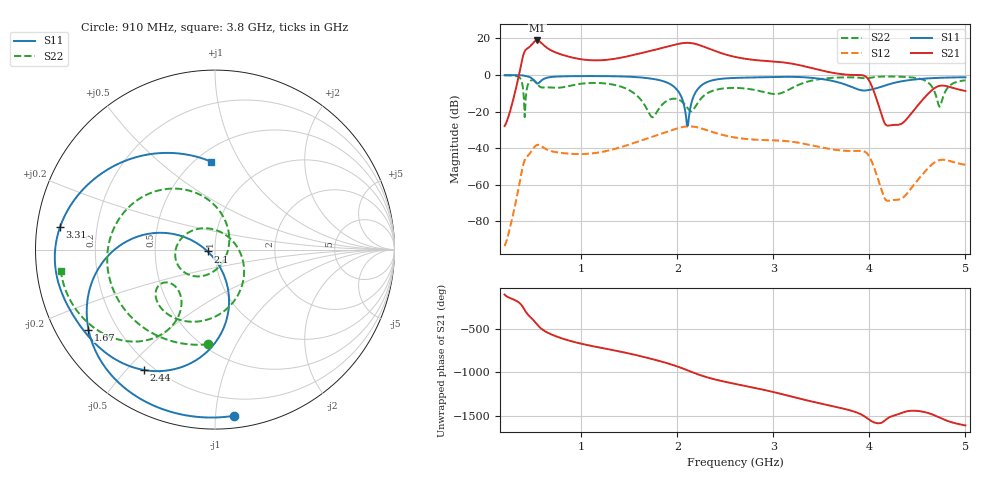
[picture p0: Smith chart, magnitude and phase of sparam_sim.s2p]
! Created Wed Feb 11 23:24:43 2026
# hz S db R 50
! 2 Port Network Data from SP1.SP block
! freq  dbS11  angS11  dbS21  angS21  dbS12  angS12  dbS22  angS22
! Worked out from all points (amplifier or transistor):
!   481 points, 200 MHz to 5 GHz, reference 50 ohm
!   highest |S21| = 18.9 dB at 540 MHz (marker M1)
!   |S21| within 3 dB of that: 1.922 GHz to 2.254 GHz (331.6 MHz wide, 15.9 % of centre)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
!   unconditionally stable (mu >= 1): start of sweep to end of sweep
!   at 1 GHz: K = 2.54, MAG = 19.0 dB, |S12| = -43.2 dB
!   at 2.6 GHz: K = 1.98, MAG = 16.4 dB, |S12| = -34.2 dB
!   at 5 GHz: K = 44.92, MAG = 0.7 dB, |S12| = -49.1 dB
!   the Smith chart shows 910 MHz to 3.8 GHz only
!   S11 on the Smith chart (normalised r, x): 910 MHz: 0.08, -1.12; 1.67 GHz: 0.10, -0.29; 2.1 GHz: 0.92, -0.02; 2.44 GHz: 0.16, -0.56; 3.31 GHz: 0.07, +0.07; 3.8 GHz: 0.59, +0.76
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2e8  -0.05 -23.9  -27.88 -103.2  -93.60 167.8  -0.14 144.3
3.7e8  -0.14 -46.6  5.23 144.3  -55.15 56.1  -2.45 69.3
4.2e8  -0.54 -55.1  13.82 58.9  -45.46 -29.0  -12.52 -169.4
4.9e8  -2.06 -67.6  17.08 -26.5  -40.87 -114.0  -2.75 108.2
5.4e8  -4.62 -59.1  18.92 -88.9  -38.19 -176.2  -4.77 76.1
6.1e8  -2.06 -50.5  16.22 -158.5  -39.84 114.6  -6.80 63.1
7.3e8  -0.86 -65.8  12.40 138.8  -42.12 52.5  -6.95 2.1
9.1e8  -0.61 -83.4  9.51 75.0  -43.12 -10.4  -5.53 -94.2
1e9  -0.57 -91.2  8.62 50.5  -43.21 -34.5  -4.73 -125.6
1.39e9  -0.71 -122.8  9.28 -36.6  -39.78 -119.6  -5.97 144.8
1.67e9  -1.58 -147.7  12.60 -106.9  -34.96 171.6  -17.41 57.2
1.8e9  -2.64 -161.8  14.27 -144.3  -32.68 134.9  -19.00 -87.5
1.97e9  -6.62 172.6  16.57 160.0  -29.66 80.2  -12.93 -166.2
2.1e9  -27.54 -165.5  17.62 107.2  -28.11 28.1  -17.72 113.7
2.25e9  -5.66 -90.1  15.99 44.7  -29.20 -33.6  -12.59 -48.1
2.44e9  -2.17 -120.6  12.25 -13.2  -32.33 -90.4  -7.63 -105.0
2.6e9  -1.56 -135.8  9.94 -51.3  -34.18 -127.6  -7.02 -128.9
3.31e9  -1.18 171.7  4.95 129.2  -37.50 57.4  -4.38 -125.0
3.4e9  -1.53 162.2  3.79 105.6  -38.50 34.4  -3.02 -133.7
3.8e9  -6.19 92.6  0.09 3.6  -41.54 -64.8  -1.25 -172.2
4.2e9  -5.10 -71.7  -27.66 -80.4  -68.76 -145.6  -0.78 157.9
5e9  -1.21 -159.3  -8.68 -169.8  -49.07 132.2  -2.89 113.5
